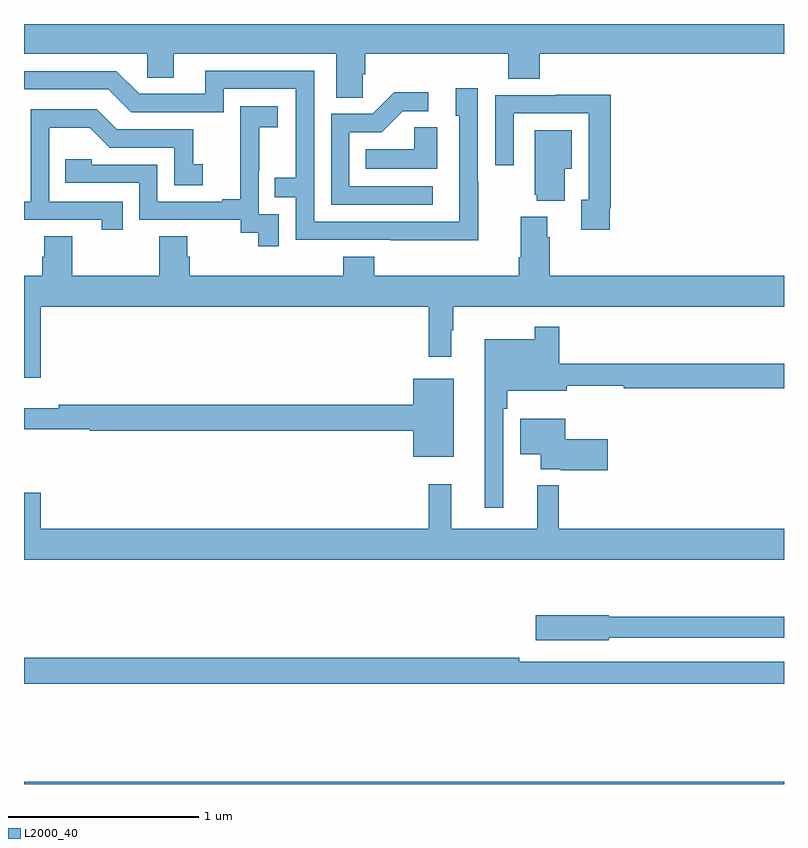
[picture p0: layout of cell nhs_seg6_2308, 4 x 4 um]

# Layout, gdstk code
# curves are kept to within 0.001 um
import gdstk
lib = gdstk.Library(unit=1e-6, precision=1e-09)
def R(c, l, rs):  # rectangles x0, y0, x1, y1
    for r in rs: c.add(gdstk.rectangle(r[:2], r[2:], *l))
def P(c, l, *ps):  # polygons
    for p in ps: c.add(gdstk.Polygon(p, *l))
L2000_40 = (2000, 40)

nhs_seg6_2308 = lib.new_cell('nhs_seg6_2308')
R(nhs_seg6_2308, L2000_40, [(249,935.5,253,935.512)])
P(nhs_seg6_2308, L2000_40, [(250.782,939.235),(250.796,939.235),(250.796,939.344),(251.549,939.344),(251.549,939.211),(251.714,939.211),(251.714,939.344),(253,939.344),(253,939.5),(249,939.5),(249,939.344),(249.648,939.344),(249.648,939.217),(249.787,939.217),(249.787,939.344),(250.643,939.344),(250.643,939.112),(250.782,939.112)],
  [(251.391,938.669),(251.388,938.669),(251.388,939.163),(251.273,939.163),(251.273,939.018),(251.292,939.018),(251.292,938.46),(250.527,938.46),(250.527,939.255),(249.953,939.255),(249.953,939.132),(249.606,939.132),(249.486,939.252),(249,939.252),(249,939.156),(249.444,939.156),(249.564,939.036),(250.05,939.036),(250.05,939.159),(250.431,939.159),(250.431,938.69),(250.321,938.69),(250.321,938.589),(250.431,938.589),(250.431,938.364),(251.391,938.363)],
  [(251.152,938.646),(250.713,938.646),(250.713,938.931),(250.882,938.931),(250.993,939.042),(251.128,939.042),(251.128,939.14),(250.949,939.14),(250.836,939.027),(250.617,939.027),(250.617,938.55),(251.152,938.55)],
  [(252.082,938.53),(252.089,938.53),(252.089,939.128),(251.797,939.128),(251.797,939.126),(251.481,939.126),(251.481,938.757),(251.577,938.757),(251.577,939.03),(251.973,939.03),(251.973,938.574),(251.933,938.574),(251.933,938.418),(252.082,938.418)],
  [(250.341,938.499),(250.236,938.499),(250.236,938.729),(250.238,938.729),(250.238,938.957),(250.336,938.957),(250.336,939.067),(250.138,939.067),(250.138,938.861),(250.139,938.861),(250.139,938.578),(250.043,938.578),(250.043,938.565),(249.702,938.565),(249.702,938.76),(249.357,938.76),(249.357,938.787),(249.217,938.787),(249.217,938.664),(249.606,938.664),(249.606,938.469),(250.14,938.469),(250.14,938.401),(250.233,938.401),(250.233,938.331),(250.341,938.331)],
  [(249.521,938.565),(249.132,938.565),(249.132,938.954),(249.346,938.954),(249.45,938.85),(249.792,938.85),(249.792,938.652),(249.94,938.652),(249.94,938.761),(249.891,938.761),(249.891,938.946),(249.487,938.946),(249.382,939.051),(249.036,939.051),(249.036,938.565),(249,938.565),(249,938.469),(249.41,938.469),(249.41,938.418),(249.521,938.418)],
  [(251.176,938.957),(251.055,938.957),(251.055,938.842),(250.798,938.842),(250.798,938.738),(251.176,938.738)],
  [(251.845,938.738),(251.884,938.738),(251.884,938.941),(251.687,938.941),(251.687,938.601),(251.699,938.601),(251.699,938.57),(251.845,938.57)],
  [(249.712,938.384),(249.712,938.176),(249.255,938.176),(249.255,938.384),(249.107,938.384),(249.107,938.274),(249.095,938.274),(249.095,938.176),(249,938.176),(249,937.638),(249.088,937.638),(249.088,938.012),(251.131,938.012),(251.131,937.749),(251.248,937.749),(251.248,937.889),(251.26,937.889),(251.26,938.012),(253,938.012),(253,938.176),(251.768,938.176),(251.768,938.378),(251.755,938.378),(251.755,938.485),(251.615,938.485),(251.615,938.272),(251.603,938.272),(251.603,938.176),(250.844,938.176),(250.844,938.275),(250.679,938.275),(250.679,938.176),(249.872,938.176),(249.872,938.274),(249.859,938.274),(249.859,938.384)],
  [(251.523,937.475),(251.543,937.475),(251.543,937.571),(251.856,937.571),(251.856,937.597),(252.156,937.597),(252.156,937.582),(253,937.582),(253,937.711),(251.816,937.711),(251.816,937.906),(251.688,937.906),(251.688,937.84),(251.426,937.84),(251.426,936.954),(251.523,936.954)],
  [(251.263,937.633),(251.048,937.633),(251.048,937.496),(249.184,937.496),(249.184,937.477),(249,937.477),(249,937.368),(249.345,937.368),(249.345,937.36),(251.048,937.36),(251.048,937.223),(251.263,937.223)],
  [(252.073,937.315),(251.848,937.315),(251.848,937.423),(251.612,937.423),(251.612,937.235),(251.72,937.235),(251.72,937.157),(251.824,937.157),(251.824,937.152),(252.073,937.152)],
  [(253,936.844),(251.814,936.844),(251.814,937.072),(251.702,937.072),(251.702,936.844),(251.249,936.844),(251.249,937.078),(251.131,937.078),(251.131,936.844),(249.088,936.844),(249.088,937.033),(249,937.033),(249,936.68),(253,936.68)],
  [(252.078,936.27),(253,936.27),(253,936.379),(252.078,936.379),(252.078,936.387),(251.694,936.387),(251.694,936.257),(252.078,936.257)],
  [(253,936.144),(251.606,936.144),(251.606,936.164),(249,936.164),(249,936.028),(253,936.028)])

lib.write_gds('nhs_seg6_2308.gds')
